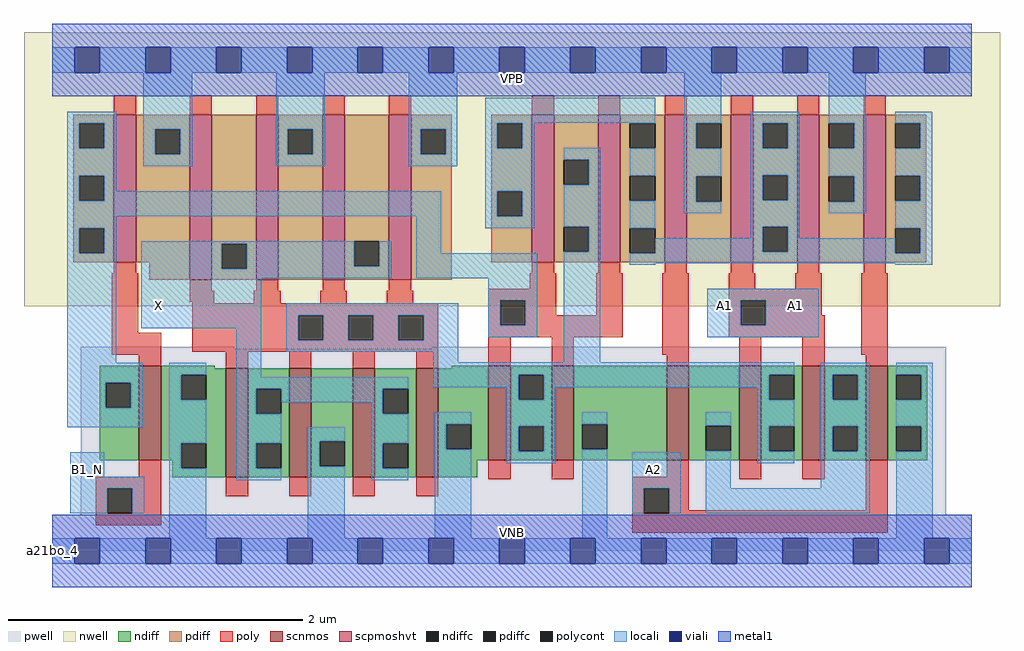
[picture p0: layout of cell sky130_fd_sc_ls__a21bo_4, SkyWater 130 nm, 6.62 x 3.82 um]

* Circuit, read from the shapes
.subckt sky130_fd_sc_ls__a21bo_4 A1 A2 B1_N VGND VNB VPB VPWR X
XM1 VGND B1_N n1 VNB sky130_fd_pr__nfet_01v8 w=0.64 l=0.15
XM2 X n2 VGND VNB sky130_fd_pr__nfet_01v8 w=0.74 l=0.15 m=4
XM3 n2 n1 VGND VNB sky130_fd_pr__nfet_01v8 w=0.64 l=0.15 m=2
XM4 n3 A2 VGND VNB sky130_fd_pr__nfet_01v8 w=0.64 l=0.15 m=2
XM5 n2 A1 n3 VNB sky130_fd_pr__nfet_01v8 w=0.64 l=0.15 m=2
XM6 VPWR B1_N n1 VPB sky130_fd_pr__pfet_01v8_hvt w=1 l=0.15
XM7 X n2 VPWR VPB sky130_fd_pr__pfet_01v8_hvt w=1.12 l=0.15 m=4
XM8 n2 n1 n4 VPB sky130_fd_pr__pfet_01v8_hvt w=1 l=0.15 m=2
XM9 VPWR A2 n4 VPB sky130_fd_pr__pfet_01v8_hvt w=1 l=0.15 m=2
XM10 n4 A1 VPWR VPB sky130_fd_pr__pfet_01v8_hvt w=1 l=0.15 m=2
.ends

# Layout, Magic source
magic
tech sky130A
magscale 1 2
<< nwell >>
rect -38 332 1286 704
<< pwell >>
rect 39 274 247 277
rect 516 274 1213 277
rect 39 49 1213 274
rect 0 0 1248 49
<< scnmos >>
rect 118 123 148 251
rect 236 100 266 248
rect 322 100 352 248
rect 408 100 438 248
rect 494 100 524 248
rect 592 123 622 251
rect 678 123 708 251
rect 834 123 864 251
rect 932 123 962 251
rect 1018 123 1048 251
rect 1104 123 1134 251
<< scpmoshvt >>
rect 84 392 114 592
rect 187 368 217 592
rect 277 368 307 592
rect 367 368 397 592
rect 457 368 487 592
rect 651 392 681 592
rect 741 392 771 592
rect 831 392 861 592
rect 921 392 951 592
rect 1011 392 1041 592
rect 1101 392 1131 592
<< ndiff >>
rect 65 228 118 251
rect 65 194 73 228
rect 107 194 118 228
rect 65 123 118 194
rect 148 248 221 251
rect 542 248 592 251
rect 148 239 236 248
rect 148 205 175 239
rect 209 205 236 239
rect 148 146 236 205
rect 148 123 175 146
rect 163 112 175 123
rect 209 112 236 146
rect 163 100 236 112
rect 266 220 322 248
rect 266 186 277 220
rect 311 186 322 220
rect 266 146 322 186
rect 266 112 277 146
rect 311 112 322 146
rect 266 100 322 112
rect 352 149 408 248
rect 352 115 363 149
rect 397 115 408 149
rect 352 100 408 115
rect 438 220 494 248
rect 438 186 449 220
rect 483 186 494 220
rect 438 146 494 186
rect 438 112 449 146
rect 483 112 494 146
rect 438 100 494 112
rect 524 172 592 248
rect 524 138 535 172
rect 569 138 592 172
rect 524 123 592 138
rect 622 239 678 251
rect 622 205 633 239
rect 667 205 678 239
rect 622 169 678 205
rect 622 135 633 169
rect 667 135 678 169
rect 622 123 678 135
rect 708 172 834 251
rect 708 138 719 172
rect 753 138 834 172
rect 708 123 834 138
rect 864 170 932 251
rect 864 136 887 170
rect 921 136 932 170
rect 864 123 932 136
rect 962 239 1018 251
rect 962 205 973 239
rect 1007 205 1018 239
rect 962 169 1018 205
rect 962 135 973 169
rect 1007 135 1018 169
rect 962 123 1018 135
rect 1048 239 1104 251
rect 1048 205 1059 239
rect 1093 205 1104 239
rect 1048 169 1104 205
rect 1048 135 1059 169
rect 1093 135 1104 169
rect 1048 123 1104 135
rect 1134 239 1187 251
rect 1134 205 1145 239
rect 1179 205 1187 239
rect 1134 169 1187 205
rect 1134 135 1145 169
rect 1179 135 1187 169
rect 1134 123 1187 135
rect 524 100 577 123
<< pdiff >>
rect 29 580 84 592
rect 29 546 37 580
rect 71 546 84 580
rect 29 509 84 546
rect 29 475 37 509
rect 71 475 84 509
rect 29 438 84 475
rect 29 404 37 438
rect 71 404 84 438
rect 29 392 84 404
rect 114 572 187 592
rect 114 538 140 572
rect 174 538 187 572
rect 114 392 187 538
rect 132 368 187 392
rect 217 417 277 592
rect 217 383 230 417
rect 264 383 277 417
rect 217 368 277 383
rect 307 572 367 592
rect 307 538 320 572
rect 354 538 367 572
rect 307 368 367 538
rect 397 420 457 592
rect 397 386 410 420
rect 444 386 457 420
rect 397 368 457 386
rect 487 572 542 592
rect 487 538 500 572
rect 534 538 542 572
rect 487 368 542 538
rect 596 580 651 592
rect 596 546 604 580
rect 638 546 651 580
rect 596 488 651 546
rect 596 454 604 488
rect 638 454 651 488
rect 596 392 651 454
rect 681 531 741 592
rect 681 497 694 531
rect 728 497 741 531
rect 681 440 741 497
rect 681 406 694 440
rect 728 406 741 440
rect 681 392 741 406
rect 771 580 831 592
rect 771 546 784 580
rect 818 546 831 580
rect 771 509 831 546
rect 771 475 784 509
rect 818 475 831 509
rect 771 438 831 475
rect 771 404 784 438
rect 818 404 831 438
rect 771 392 831 404
rect 861 580 921 592
rect 861 546 874 580
rect 908 546 921 580
rect 861 508 921 546
rect 861 474 874 508
rect 908 474 921 508
rect 861 392 921 474
rect 951 580 1011 592
rect 951 546 964 580
rect 998 546 1011 580
rect 951 510 1011 546
rect 951 476 964 510
rect 998 476 1011 510
rect 951 440 1011 476
rect 951 406 964 440
rect 998 406 1011 440
rect 951 392 1011 406
rect 1041 580 1101 592
rect 1041 546 1054 580
rect 1088 546 1101 580
rect 1041 508 1101 546
rect 1041 474 1054 508
rect 1088 474 1101 508
rect 1041 392 1101 474
rect 1131 580 1186 592
rect 1131 546 1144 580
rect 1178 546 1186 580
rect 1131 509 1186 546
rect 1131 475 1144 509
rect 1178 475 1186 509
rect 1131 438 1186 475
rect 1131 404 1144 438
rect 1178 404 1186 438
rect 1131 392 1186 404
<< ndiffc >>
rect 73 194 107 228
rect 175 205 209 239
rect 175 112 209 146
rect 277 186 311 220
rect 277 112 311 146
rect 363 115 397 149
rect 449 186 483 220
rect 449 112 483 146
rect 535 138 569 172
rect 633 205 667 239
rect 633 135 667 169
rect 719 138 753 172
rect 887 136 921 170
rect 973 205 1007 239
rect 973 135 1007 169
rect 1059 205 1093 239
rect 1059 135 1093 169
rect 1145 205 1179 239
rect 1145 135 1179 169
<< pdiffc >>
rect 37 546 71 580
rect 37 475 71 509
rect 37 404 71 438
rect 140 538 174 572
rect 230 383 264 417
rect 320 538 354 572
rect 410 386 444 420
rect 500 538 534 572
rect 604 546 638 580
rect 604 454 638 488
rect 694 497 728 531
rect 694 406 728 440
rect 784 546 818 580
rect 784 475 818 509
rect 784 404 818 438
rect 874 546 908 580
rect 874 474 908 508
rect 964 546 998 580
rect 964 476 998 510
rect 964 406 998 440
rect 1054 546 1088 580
rect 1054 474 1088 508
rect 1144 546 1178 580
rect 1144 475 1178 509
rect 1144 404 1178 438
<< poly >>
rect 84 592 114 618
rect 187 592 217 618
rect 277 592 307 618
rect 367 592 397 618
rect 457 592 487 618
rect 651 592 681 618
rect 741 592 771 618
rect 831 592 861 618
rect 921 592 951 618
rect 1011 592 1041 618
rect 1101 592 1131 618
rect 84 377 114 392
rect 81 296 117 377
rect 651 377 681 392
rect 741 377 771 392
rect 831 377 861 392
rect 921 377 951 392
rect 1011 377 1041 392
rect 1101 377 1131 392
rect 187 353 217 368
rect 277 353 307 368
rect 367 353 397 368
rect 457 353 487 368
rect 648 356 684 377
rect 187 338 220 353
rect 190 336 220 338
rect 274 336 310 353
rect 364 336 400 353
rect 454 336 490 353
rect 592 340 684 356
rect 190 320 524 336
rect 81 266 148 296
rect 190 286 334 320
rect 368 286 402 320
rect 436 286 470 320
rect 504 286 524 320
rect 190 270 524 286
rect 118 251 148 266
rect 236 248 266 270
rect 322 248 352 270
rect 408 248 438 270
rect 494 248 524 270
rect 592 306 608 340
rect 642 320 684 340
rect 738 320 774 377
rect 642 306 774 320
rect 592 290 774 306
rect 592 251 622 290
rect 678 251 708 290
rect 828 266 864 377
rect 918 356 954 377
rect 1008 356 1044 377
rect 918 340 1044 356
rect 918 306 934 340
rect 968 320 1044 340
rect 968 306 1048 320
rect 918 290 1048 306
rect 834 251 864 266
rect 932 251 962 290
rect 1018 251 1048 290
rect 1098 266 1134 377
rect 1104 251 1134 266
rect 118 101 148 123
rect 59 85 148 101
rect 59 51 75 85
rect 109 51 148 85
rect 236 74 266 100
rect 322 74 352 100
rect 408 74 438 100
rect 494 74 524 100
rect 592 97 622 123
rect 678 97 708 123
rect 834 101 864 123
rect 787 85 864 101
rect 932 97 962 123
rect 1018 97 1048 123
rect 59 35 148 51
rect 787 51 803 85
rect 837 55 864 85
rect 1104 55 1134 123
rect 837 51 1134 55
rect 787 25 1134 51
<< polycont >>
rect 334 286 368 320
rect 402 286 436 320
rect 470 286 504 320
rect 608 306 642 340
rect 934 306 968 340
rect 75 51 109 85
rect 803 51 837 85
<< locali >>
rect 0 649 31 683
rect 65 649 127 683
rect 161 649 223 683
rect 257 649 319 683
rect 353 649 415 683
rect 449 649 511 683
rect 545 649 607 683
rect 641 649 703 683
rect 737 649 799 683
rect 833 649 895 683
rect 929 649 991 683
rect 1025 649 1087 683
rect 1121 649 1183 683
rect 1217 649 1248 683
rect 21 580 87 596
rect 21 546 37 580
rect 71 546 87 580
rect 21 509 87 546
rect 124 572 190 649
rect 124 538 140 572
rect 174 538 190 572
rect 124 522 190 538
rect 304 572 370 649
rect 304 538 320 572
rect 354 538 370 572
rect 304 522 370 538
rect 484 572 550 649
rect 484 538 500 572
rect 534 538 550 572
rect 484 522 550 538
rect 588 581 818 615
rect 588 580 654 581
rect 588 546 604 580
rect 638 546 654 580
rect 784 580 818 581
rect 21 475 37 509
rect 71 488 87 509
rect 588 488 654 546
rect 71 475 528 488
rect 21 454 528 475
rect 21 438 87 454
rect 21 404 37 438
rect 71 404 87 438
rect 21 255 87 404
rect 121 417 410 420
rect 121 383 230 417
rect 264 386 410 417
rect 444 386 460 420
rect 264 383 460 386
rect 121 370 460 383
rect 494 404 528 454
rect 588 454 604 488
rect 638 454 654 488
rect 588 438 654 454
rect 694 531 744 547
rect 728 497 744 531
rect 694 440 744 497
rect 728 406 744 440
rect 494 370 658 404
rect 121 302 284 370
rect 592 340 658 370
rect 21 228 123 255
rect 21 194 73 228
rect 107 194 123 228
rect 21 168 123 194
rect 159 239 209 255
rect 159 205 175 239
rect 159 146 209 205
rect 25 101 71 134
rect 159 112 175 146
rect 25 85 125 101
rect 25 51 75 85
rect 109 51 125 85
rect 159 17 209 112
rect 250 236 284 302
rect 318 320 551 336
rect 318 286 334 320
rect 368 286 402 320
rect 436 286 470 320
rect 504 286 551 320
rect 592 306 608 340
rect 642 306 658 340
rect 592 290 658 306
rect 318 270 551 286
rect 517 256 551 270
rect 694 256 744 406
rect 784 509 818 546
rect 784 438 818 475
rect 858 580 908 649
rect 858 546 874 580
rect 858 508 908 546
rect 858 474 874 508
rect 858 458 908 474
rect 948 580 1014 596
rect 948 546 964 580
rect 998 546 1014 580
rect 948 510 1014 546
rect 948 476 964 510
rect 998 476 1014 510
rect 948 440 1014 476
rect 1054 580 1104 649
rect 1088 546 1104 580
rect 1054 508 1104 546
rect 1088 474 1104 508
rect 1054 458 1104 474
rect 1144 580 1194 596
rect 1178 546 1194 580
rect 1144 509 1194 546
rect 1178 475 1194 509
rect 948 424 964 440
rect 818 406 964 424
rect 998 424 1014 440
rect 1144 438 1194 475
rect 998 406 1144 424
rect 818 404 1144 406
rect 1178 404 1194 438
rect 784 390 1194 404
rect 784 388 818 390
rect 1144 388 1194 390
rect 889 340 1040 356
rect 889 306 934 340
rect 968 306 1040 340
rect 889 290 1040 306
rect 517 239 1007 256
rect 250 220 483 236
rect 517 222 633 239
rect 250 186 277 220
rect 311 202 449 220
rect 250 146 311 186
rect 433 186 449 202
rect 617 205 633 222
rect 667 222 973 239
rect 667 205 683 222
rect 250 112 277 146
rect 250 96 311 112
rect 347 149 397 168
rect 347 115 363 149
rect 347 17 397 115
rect 433 146 483 186
rect 433 112 449 146
rect 433 96 483 112
rect 519 172 569 188
rect 519 138 535 172
rect 519 17 569 138
rect 617 169 683 205
rect 957 205 973 222
rect 617 135 633 169
rect 667 135 683 169
rect 617 119 683 135
rect 719 172 753 188
rect 719 17 753 138
rect 887 170 921 188
rect 787 85 853 134
rect 787 51 803 85
rect 837 51 853 85
rect 887 85 921 136
rect 957 169 1007 205
rect 957 135 973 169
rect 957 119 1007 135
rect 1043 239 1109 255
rect 1043 205 1059 239
rect 1093 205 1109 239
rect 1043 169 1109 205
rect 1043 135 1059 169
rect 1093 135 1109 169
rect 1043 85 1109 135
rect 887 51 1109 85
rect 1145 239 1195 255
rect 1179 205 1195 239
rect 1145 169 1195 205
rect 1179 135 1195 169
rect 1145 17 1195 135
rect 0 -17 31 17
rect 65 -17 127 17
rect 161 -17 223 17
rect 257 -17 319 17
rect 353 -17 415 17
rect 449 -17 511 17
rect 545 -17 607 17
rect 641 -17 703 17
rect 737 -17 799 17
rect 833 -17 895 17
rect 929 -17 991 17
rect 1025 -17 1087 17
rect 1121 -17 1183 17
rect 1217 -17 1248 17
<< viali >>
rect 31 649 65 683
rect 127 649 161 683
rect 223 649 257 683
rect 319 649 353 683
rect 415 649 449 683
rect 511 649 545 683
rect 607 649 641 683
rect 703 649 737 683
rect 799 649 833 683
rect 895 649 929 683
rect 991 649 1025 683
rect 1087 649 1121 683
rect 1183 649 1217 683
rect 31 -17 65 17
rect 127 -17 161 17
rect 223 -17 257 17
rect 319 -17 353 17
rect 415 -17 449 17
rect 511 -17 545 17
rect 607 -17 641 17
rect 703 -17 737 17
rect 799 -17 833 17
rect 895 -17 929 17
rect 991 -17 1025 17
rect 1087 -17 1121 17
rect 1183 -17 1217 17
<< metal1 >>
rect 0 683 1248 715
rect 0 649 31 683
rect 65 649 127 683
rect 161 649 223 683
rect 257 649 319 683
rect 353 649 415 683
rect 449 649 511 683
rect 545 649 607 683
rect 641 649 703 683
rect 737 649 799 683
rect 833 649 895 683
rect 929 649 991 683
rect 1025 649 1087 683
rect 1121 649 1183 683
rect 1217 649 1248 683
rect 0 617 1248 649
rect 0 17 1248 49
rect 0 -17 31 17
rect 65 -17 127 17
rect 161 -17 223 17
rect 257 -17 319 17
rect 353 -17 415 17
rect 449 -17 511 17
rect 545 -17 607 17
rect 641 -17 703 17
rect 737 -17 799 17
rect 833 -17 895 17
rect 929 -17 991 17
rect 1025 -17 1087 17
rect 1121 -17 1183 17
rect 1217 -17 1248 17
rect 0 -49 1248 -17
<< labels >>
rlabel comment s 0 0 0 0 4 a21bo_4
flabel pwell s 0 0 1248 49 0 FreeSans 200 0 0 0 VNB
port 5 nsew ground bidirectional
flabel nwell s 0 617 1248 666 0 FreeSans 200 0 0 0 VPB
port 6 nsew power bidirectional
flabel metal1 s 0 617 1248 666 0 FreeSans 340 0 0 0 VPWR
port 7 nsew power bidirectional abutment
flabel metal1 s 0 0 1248 49 0 FreeSans 340 0 0 0 VGND
port 4 nsew ground bidirectional abutment
flabel locali s 31 94 65 128 0 FreeSans 340 0 0 0 B1_N
port 3 nsew signal input
flabel locali s 799 94 833 128 0 FreeSans 340 0 0 0 A2
port 2 nsew signal input
flabel locali s 895 316 929 350 0 FreeSans 340 0 0 0 A1
port 1 nsew signal input
flabel locali s 991 316 1025 350 0 FreeSans 340 0 0 0 A1
port 1 nsew signal input
flabel locali s 127 316 161 350 0 FreeSans 340 0 0 0 X
port 8 nsew signal output
<< properties >>
string LEFsite unit
string LEFclass CORE
string FIXED_BBOX 0 0 1248 666
string GDS_FILE $PDKPATH/libs.ref/sky130_fd_sc_ls/gds/sky130_fd_sc_ls.gds
string LEFsymmetry X Y
string GDS_END 2277758
string GDS_START 2267784
<< end >>
